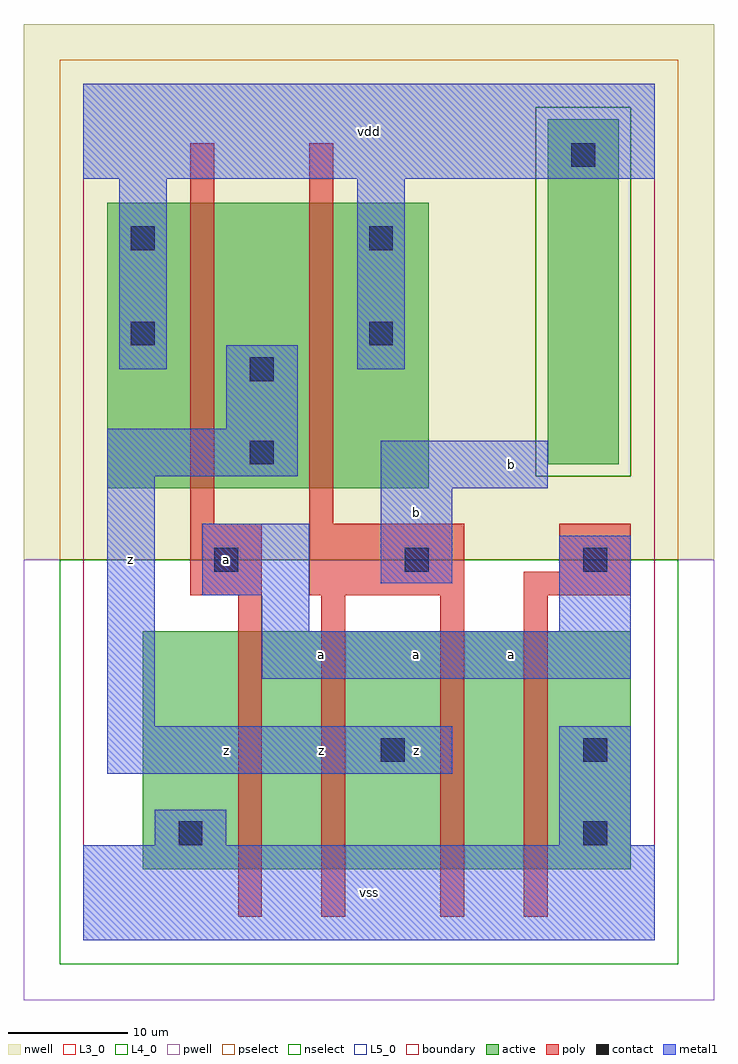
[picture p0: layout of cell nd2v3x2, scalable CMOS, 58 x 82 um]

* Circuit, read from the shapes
.subckt nd2v3x2 a b vdd vss z
M1 n1 a vss VSUBS nfet w=20u l=2u
M2 z b n1 VSUBS nfet w=20u l=2u
M3 n2 b z VSUBS nfet w=20u l=2u
M4 vss a n2 VSUBS nfet w=20u l=2u
M5 z a vdd vdd pfet w=24u l=2u
M6 vdd b z vdd pfet w=24u l=2u
.ends

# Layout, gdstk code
import gdstk
lib = gdstk.Library(unit=1e-6, precision=1e-09)
def R(c, l, rs):  # rectangles x0, y0, x1, y1
    for r in rs: c.add(gdstk.rectangle(r[:2], r[2:], *l))
L3_0 = (3, 0)
L4_0 = (4, 0)
L5_0 = (5, 0)
contact = (25, 0)
pwell = (41, 0)
nwell = (42, 0)
active = (43, 0)
pselect = (44, 0)
nselect = (45, 0)
poly = (46, 0)
metal1 = (49, 0)
boundary = (63, 0)

nd2v3x2 = lib.new_cell('nd2v3x2')
R(nd2v3x2, L3_0, [(5,6,46,26)])
R(nd2v3x2, L4_0, [(2,38,29,62)])
R(nd2v3x2, L5_0, [(39,40,45,69)])
R(nd2v3x2, contact, [(8,8,10,10), (42,8,44,10), (25,15,27,17), (42,15,44,17), (11,31,13,33), (27,31,29,33), (42,31,44,33), (14,40,16,42), (14,47,16,49), (4,50,6,52), (24,50,26,52), (4,58,6,60), (24,58,26,60), (41,65,43,67)])
R(nd2v3x2, pwell, [(-5,-5,53,32)])
R(nd2v3x2, nwell, [(-5,32,53,77)])
R(nd2v3x2, active, [(5,6,46,26), (2,38,29,62), (39,40,45,69)])
R(nd2v3x2, pselect, [(-2,32,50,39), (-2,39,38,70), (46,39,50,70), (-2,70,50,74)])
R(nd2v3x2, nselect, [(-2,-2,50,32), (38,39,46,70)])
R(nd2v3x2, poly, [(13,2,15,29), (20,2,22,29), (30,2,32,29), (37,2,39,29), (9,29,15,35), (19,29,32,35), (37,29,46,31), (40,31,46,35), (9,35,11,67), (19,35,21,67)])
R(nd2v3x2, metal1, [(0,0,48,8), (6,8,12,11), (40,8,46,18), (2,14,31,18), (2,18,6,39), (15,22,46,26), (15,26,19,29), (40,26,46,34), (10,29,19,35), (25,30,31,38), (25,38,39,42), (2,39,18,43), (12,43,18,50), (3,48,7,64), (23,48,27,64), (0,64,48,72)])
R(nd2v3x2, boundary, [(0,0,48,72)])
nd2v3x2.add(gdstk.Label('z', (4,32), layer=49, texttype=0))
nd2v3x2.add(gdstk.Label('z', (20,16), layer=49, texttype=0))
nd2v3x2.add(gdstk.Label('z', (12,16), layer=49, texttype=0))
nd2v3x2.add(gdstk.Label('a', (12,32), layer=49, texttype=0))
nd2v3x2.add(gdstk.Label('a', (20,24), layer=49, texttype=0))
nd2v3x2.add(gdstk.Label('vss', (24,4), layer=49, texttype=0))
nd2v3x2.add(gdstk.Label('z', (28,16), layer=49, texttype=0))
nd2v3x2.add(gdstk.Label('a', (28,24), layer=49, texttype=0))
nd2v3x2.add(gdstk.Label('b', (28,36), layer=49, texttype=0))
nd2v3x2.add(gdstk.Label('vdd', (24,68), layer=49, texttype=0))
nd2v3x2.add(gdstk.Label('a', (36,24), layer=49, texttype=0))
nd2v3x2.add(gdstk.Label('b', (36,40), layer=49, texttype=0))

lib.write_gds('nd2v3x2.gds')
